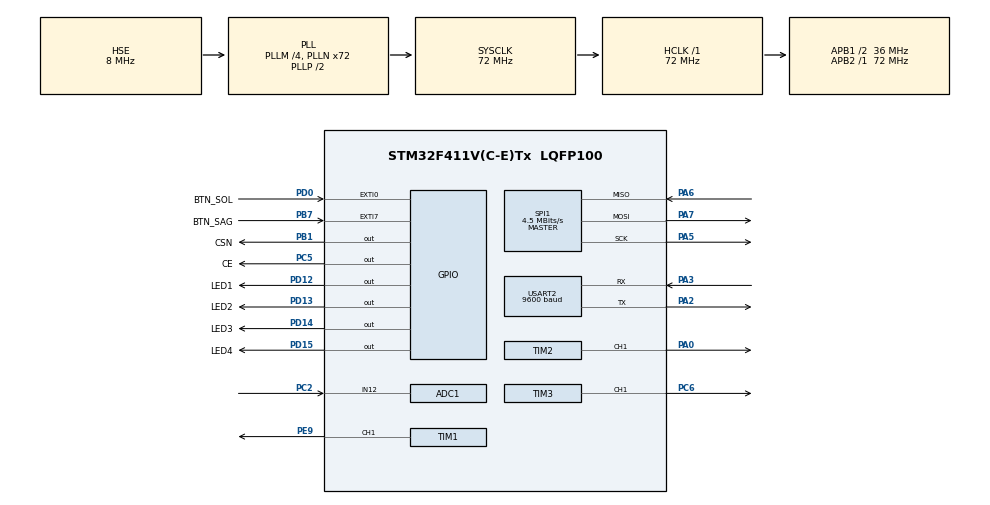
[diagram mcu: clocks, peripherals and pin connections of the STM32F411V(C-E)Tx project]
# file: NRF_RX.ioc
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ADC1.Channel-0\#ChannelRegularConversion=ADC_CHANNEL_12
ADC1.ContinuousConvMode=ENABLE
ADC1.EOCSelection=ADC_EOC_SEQ_CONV
ADC1.NbrOfConversionFlag=1
ADC1.Rank-0\#ChannelRegularConversion=1
ADC1.Resolution=ADC_RESOLUTION_10B
ADC1.SamplingTime-0\#ChannelRegularConversion=ADC_SAMPLETIME_480CYCLES
ADC1.master=1
Mcu.Family=STM32F4
Mcu.Name=STM32F411V(C-E)Tx
Mcu.Package=LQFP100
NVIC.EXTI0_IRQn=true\:0\:0\:false\:false\:true\:true\:true\:true
NVIC.EXTI9_5_IRQn=true\:0\:0\:false\:false\:true\:true\:true\:true
NVIC.PriorityGroup=NVIC_PRIORITYGROUP_0
NVIC.SPI1_IRQn=true\:0\:0\:false\:false\:true\:true\:true\:true
PA0-WKUP.Signal=S_TIM2_CH1_ETR
PA13.Mode=Serial_Wire
PA13.Signal=SYS_JTMS-SWDIO
PA14.Mode=Serial_Wire
PA14.Signal=SYS_JTCK-SWCLK
PA2.Mode=Asynchronous
PA2.Signal=USART2_TX
PA3.Mode=Asynchronous
PA3.Signal=USART2_RX
PA5.Mode=Full_Duplex_Master
PA5.Signal=SPI1_SCK
PA6.Mode=Full_Duplex_Master
PA6.Signal=SPI1_MISO
PA7.Mode=Full_Duplex_Master
PA7.Signal=SPI1_MOSI
PB1.GPIO_Label=CSN
PB1.Signal=GPIO_Output
PB7.GPIO_Label=BTN_SAG
PB7.Signal=GPXTI7
PC2.Signal=ADCx_IN12
PC5.GPIO_Label=CE
PC5.Signal=GPIO_Output
PC6.Signal=S_TIM3_CH1
PD0.GPIO_Label=BTN_SOL
PD0.Signal=GPXTI0
PD12.GPIO_Label=LED1
PD12.Signal=GPIO_Output
PD13.GPIO_Label=LED2
PD13.Signal=GPIO_Output
PD14.GPIO_Label=LED3
PD14.Signal=GPIO_Output
PD15.GPIO_Label=LED4
PD15.Signal=GPIO_Output
PE9.Signal=S_TIM1_CH1
PH0\ -\ OSC_IN.Mode=HSE-External-Oscillator
PH0\ -\ OSC_IN.Signal=RCC_OSC_IN
PH1\ -\ OSC_OUT.Mode=HSE-External-Oscillator
PH1\ -\ OSC_OUT.Signal=RCC_OSC_OUT
ProjectManager.HeapSize=0x200
ProjectManager.StackSize=0x400
ProjectManager.TargetToolchain=STM32CubeIDE
RCC.48MHZClocksFreq_Value=18000000
RCC.AHBFreq_Value=72000000
RCC.APB1CLKDivider=RCC_HCLK_DIV2
RCC.APB1Freq_Value=36000000
RCC.APB1TimFreq_Value=72000000
RCC.APB2Freq_Value=72000000
RCC.APB2TimFreq_Value=72000000
RCC.CortexFreq_Value=72000000
RCC.HCLKFreq_Value=72000000
RCC.HSE_VALUE=8000000
RCC.HSI_VALUE=16000000
RCC.LSE_VALUE=32768
RCC.PLLI2SM=5
RCC.PLLI2SN=200
RCC.PLLM=4
RCC.PLLN=72
RCC.PLLQ=8
RCC.PLLSourceVirtual=RCC_PLLSOURCE_HSE
RCC.SYSCLKFreq_VALUE=72000000
RCC.SYSCLKSource=RCC_SYSCLKSOURCE_PLLCLK
RCC.VCOOutputFreq_Value=144000000
SH.ADCx_IN12.0=ADC1_IN12,IN12
SH.S_TIM1_CH1.0=TIM1_CH1,PWM Generation1 CH1
SH.S_TIM2_CH1_ETR.0=TIM2_CH1,PWM Generation1 CH1
SH.S_TIM3_CH1.0=TIM3_CH1,PWM Generation1 CH1
SPI1.BaudRatePrescaler=SPI_BAUDRATEPRESCALER_16
SPI1.CalculateBaudRate=4.5 MBits/s
SPI1.Direction=SPI_DIRECTION_2LINES
SPI1.Mode=SPI_MODE_MASTER
SPI1.VirtualType=VM_MASTER
TIM1.Channel-PWM\ Generation1\ CH1=TIM_CHANNEL_1
TIM1.Period=9999
TIM1.Prescaler=143
TIM2.Channel-PWM\ Generation1\ CH1=TIM_CHANNEL_1
TIM2.Period=9999
TIM2.Prescaler=143
TIM3.Channel-PWM\ Generation1\ CH1=TIM_CHANNEL_1
TIM3.Period=9999
TIM3.Prescaler=143
USART2.BaudRate=9600
USART2.VirtualMode=VM_ASYNC
VP_TIM1_VS_ClockSourceINT.Mode=Internal
VP_TIM2_VS_ClockSourceINT.Mode=Internal
VP_TIM3_VS_ClockSourceINT.Mode=Internal
board=STM32F411E-DISCO

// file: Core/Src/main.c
/* USER CODE BEGIN Header */
/**
  ******************************************************************************
  * @file           : main.c
  * @brief          : Main program body
  ******************************************************************************
  * @attention
  *
  * Copyright (c) 2023 STMicroelectronics.
  * All rights reserved.
  *
  * This software is licensed under terms that can be found in the LICENSE file
  * in the root directory of this software component.
  * If no LICENSE file comes with this software, it is provided AS-IS.
  *
  ******************************************************************************
  */
/* USER CODE END Header */
#include "main.h"

/* USER CODE BEGIN Includes */

#include "NRF24L01.h"
#include "string.h"
#include <stdio.h>
#include "stdlib.h"
#include <stdint.h>

/* USER CODE END Includes */

/* USER CODE BEGIN PTD */

typedef enum
{
	NFR_MOD,
	BOARD_MOD
}MOD_State_TypeDef;

MOD_State_TypeDef MOD_State_SWC;

/* USER CODE END PTD */

ADC_HandleTypeDef hadc1;

SPI_HandleTypeDef hspi1;

TIM_HandleTypeDef htim1;
TIM_HandleTypeDef htim2;
TIM_HandleTypeDef htim3;

UART_HandleTypeDef huart2;

/* USER CODE BEGIN PV */

uint8_t RxAddress[] = {0x00,0xDD,0xCC,0xBB,0xAA};
uint8_t RxData[20] = {0,0,0,0,0,0,0,0,0,0,0,0,0,0,0,0,0,0,0,0};
uint8_t data[50];

const char ayirici[] = ",";

uint8_t sonuc;
int rcv_data;
int scl_data;

unsigned short PC2_Read, PC2_Scl;

/* USER CODE END PV */

void SystemClock_Config(void);
static void MX_GPIO_Init(void);
static void MX_SPI1_Init(void);
static void MX_USART2_UART_Init(void);
static void MX_TIM1_Init(void);
static void MX_ADC1_Init(void);
static void MX_TIM2_Init(void);
static void MX_TIM3_Init(void);

/* USER CODE BEGIN 0 */

/*
 * 	SWITCH CASE DONGUSUNDE MOD SECIMI. NRF MODDA RF VERICIDEN GELEN
 * 	VERILERE GORE SERVOLAR SURULUR. BOARD MODDA ISE ALICI OLAN DEVREDEKI
 * 	POTANSIYOMETRE KULLANILARAK SERVOLAR SURULEBILIR.
 */
void HAL_GPIO_EXTI_Callback(uint16_t GPIO_Pin)
{
	if(GPIO_Pin == BTN_SOL_Pin)
	{
		MOD_State_SWC = NFR_MOD;
		HAL_GPIO_WritePin(LED2_GPIO_Port, LED2_Pin, GPIO_PIN_RESET);
		HAL_GPIO_WritePin(LED1_GPIO_Port, LED1_Pin, GPIO_PIN_SET);
	}
	if(GPIO_Pin == BTN_SAG_Pin)
	{
		MOD_State_SWC = BOARD_MOD;
		HAL_GPIO_WritePin(LED1_GPIO_Port, LED1_Pin, GPIO_PIN_RESET);
		HAL_GPIO_WritePin(LED2_GPIO_Port, LED2_Pin, GPIO_PIN_SET);
	}
}

/*
 *  RF ILE GELEN VERILERI SERVO SURME DEGERLERINE DONUSTURMEK
 *  ICIN KULLANILAN DEGISKENLER
 *
 */

char* ptr;

uint16_t receivedNumber = 0;
uint16_t receivedNumber2 = 0;
uint16_t receivedNumber3 = 0;

uint16_t final = 0, servo_drive = 0;
uint16_t final2 = 0, servo_drive2 = 0;
uint16_t final3 = 0, servo_drive3 = 0;

uint16_t servo_drive2Rev = 500;
uint16_t servo_drive3Rev = 500;

char *endptr;

/*
 * BU FONKSIYON RxData'DAN GELEN VERILERI HER VIRGUL (",")
 * GELEN KISMINDAN AYIRIR. SONRASINDA TIM_PWM DEGERLERINI ELDE ETMEK
 * ICIN 250-1250 ARASINA OLCEKLER. JOYSTICK'DEN GELEN receivedNumber2 VE
 * receivedNumber3 DEGERLERINI DE DUZENLEYIP NIHAI DURUMDA KULLANILACAK OLAN
 * servo_drive2Rev VE servo_drive3Rev DEGERLERINE DONUSTURUR.
 */
void verileri_isle()
{
	//receivedNumber = atoi(RxData);

	//receivedNumber = strtol((char*)RxData, &endptr, 10);

	ptr = strtok(RxData, ayirici);
	receivedNumber = strtol(ptr, NULL, 10);
	final = receivedNumber;
	receivedNumber = 0;
	servo_drive = ((final - 0) * (1250 - 250)) / (4096 - 0) + 250;

	ptr = strtok(NULL, ayirici);
	receivedNumber2 = strtol(ptr, NULL, 10);
	final2 = receivedNumber2;
	receivedNumber2 = 0;
	servo_drive2 = ((final2 - 0) * (1250 - 250)) / (4096 - 0) + 250;

	ptr = strtok(NULL, ayirici);
	receivedNumber3 = strtol(ptr, NULL, 10);
	final3 = receivedNumber3;
	receivedNumber3 = 0;
	servo_drive3 = ((final3 - 0) * (1250 - 250)) / (4096 - 0) + 250;

	// *** SERVO 2 ICIN JOYSTICK VERILERINI DUZENLEME ***
	if(servo_drive2 < 500)
	{
		servo_drive2Rev = servo_drive2Rev - 3;
		if(servo_drive2Rev <= 250)
		{
			servo_drive2Rev = 250;
		}
	}
	if(servo_drive2 > 900)
	{
		servo_drive2Rev = servo_drive2Rev + 3;
		if(servo_drive2Rev >= 1250)
		{
			servo_drive2Rev = 1250;
		}
	}

	// *** SERVO 3 ICIN JOYSTICK VERILERINI DUZENLEME ***
	if(servo_drive3 < 500)
	{
		servo_drive3Rev = servo_drive3Rev - 3;
		if(servo_drive3Rev <= 250)
		{
			servo_drive3Rev = 250;
		}

	}
	if(servo_drive3 > 900)
	{
		servo_drive3Rev = servo_drive3Rev + 3;
		if(servo_drive3Rev >= 1250)
		{
			servo_drive3Rev = 1250;
		}

	}

}

/*
void HAL_SPI_RxCpltCallback(SPI_HandleTypeDef *hspi)
{
	if(hspi == &hspi1)
	{
		NRF24_Receive(RxData);
		ledw = RxData[0];
		HAL_SPI_Receive_IT(&hspi1, RxData, 10);
	}

}
*/

/* USER CODE END 0 */

int main(void)
{

  /* MCU Configuration--------------------------------------------------------*/

  /* Reset of all peripherals, Initializes the Flash interface and the Systick. */
  HAL_Init();

  /* Configure the system clock */
  SystemClock_Config();

  /* Initialize all configured peripherals */
  MX_GPIO_Init();
  MX_SPI1_Init();
  MX_USART2_UART_Init();
  MX_TIM1_Init();
  MX_ADC1_Init();
  MX_TIM2_Init();
  MX_TIM3_Init();
  /* USER CODE BEGIN 2 */

  HAL_ADC_Start(&hadc1);
  HAL_TIM_PWM_Start(&htim1, TIM_CHANNEL_1);
  HAL_TIM_PWM_Start(&htim2, TIM_CHANNEL_1);
  HAL_TIM_PWM_Start(&htim3, TIM_CHANNEL_1);

  //HAL_SPI_Receive_IT(&hspi1, RxData, 10);

  NRF24_Init();
  NRF24_RxMode(RxAddress, 10);
  NRF24_ReadAll(data);

  /* USER CODE END 2 */

  /* Infinite loop */
  while (1)
  {

    /* USER CODE BEGIN 3 */

	  switch (MOD_State_SWC) {
		case NFR_MOD:
			if (isDataAvailable(2) == 1)
			  {
				  NRF24_Receive(RxData);
				  HAL_GPIO_TogglePin(GPIOD, LED3_Pin | LED4_Pin);
				  verileri_isle();
				  //rcv_data = RxData[0];
				  //scl_data = (rcv_data + 250) +(rcv_data *2);

				  if(servo_drive >= 250 && servo_drive <= 1250)
				  {
					__HAL_TIM_SET_COMPARE(&htim1, TIM_CHANNEL_1, servo_drive);
					HAL_Delay(1);
				  }
					  //HAL_UART_Transmit(&huart2, RxData, strlen((char *)RxData), 1000);

				  if(servo_drive2Rev >= 250 && servo_drive2Rev <= 1250)
				  {
					__HAL_TIM_SET_COMPARE(&htim2, TIM_CHANNEL_1, servo_drive2Rev);
					HAL_Delay(1);
				  }
				  if(servo_drive3Rev >= 250 && servo_drive3Rev <= 1250)
				  {
					__HAL_TIM_SET_COMPARE(&htim3, TIM_CHANNEL_1, servo_drive3Rev);
					HAL_Delay(1);
				  }
			  }
			else
				{
					HAL_GPIO_WritePin(GPIOD, LED3_Pin | LED4_Pin, GPIO_PIN_RESET);
				}
			break;

		case BOARD_MOD:
			HAL_GPIO_WritePin(GPIOD, LED3_Pin | LED4_Pin, GPIO_PIN_RESET);
			if(HAL_ADC_PollForConversion(&hadc1, 100) == HAL_OK)
			  {
				  PC2_Read = HAL_ADC_GetValue(&hadc1);
				  PC2_Scl = PC2_Read + 250;

				  if(PC2_Scl >= 1250)
				  {
					  PC2_Scl = 1250;
				  }
				  __HAL_TIM_SET_COMPARE(&htim1, TIM_CHANNEL_1, PC2_Scl);
				  HAL_Delay(1);
			  }
			break;

		default:
			break;

	}

  }
  /* USER CODE END 3 */
}

void SystemClock_Config(void)
{
  RCC_OscInitTypeDef RCC_OscInitStruct = {0};
  RCC_ClkInitTypeDef RCC_ClkInitStruct = {0};

  /** Configure the main internal regulator output voltage
  */
  __HAL_RCC_PWR_CLK_ENABLE();
  __HAL_PWR_VOLTAGESCALING_CONFIG(PWR_REGULATOR_VOLTAGE_SCALE1);

  /** Initializes the RCC Oscillators according to the specified parameters
  * in the RCC_OscInitTypeDef structure.
  */
  RCC_OscInitStruct.OscillatorType = RCC_OSCILLATORTYPE_HSE;
  RCC_OscInitStruct.HSEState = RCC_HSE_ON;
  RCC_OscInitStruct.PLL.PLLState = RCC_PLL_ON;
  RCC_OscInitStruct.PLL.PLLSource = RCC_PLLSOURCE_HSE;
  RCC_OscInitStruct.PLL.PLLM = 4;
  RCC_OscInitStruct.PLL.PLLN = 72;
  RCC_OscInitStruct.PLL.PLLP = RCC_PLLP_DIV2;
  RCC_OscInitStruct.PLL.PLLQ = 8;
  if (HAL_RCC_OscConfig(&RCC_OscInitStruct) != HAL_OK)
  {
    Error_Handler();
  }

  /** Initializes the CPU, AHB and APB buses clocks
  */
  RCC_ClkInitStruct.ClockType = RCC_CLOCKTYPE_HCLK|RCC_CLOCKTYPE_SYSCLK
                              |RCC_CLOCKTYPE_PCLK1|RCC_CLOCKTYPE_PCLK2;
  RCC_ClkInitStruct.SYSCLKSource = RCC_SYSCLKSOURCE_PLLCLK;
  RCC_ClkInitStruct.AHBCLKDivider = RCC_SYSCLK_DIV1;
  RCC_ClkInitStruct.APB1CLKDivider = RCC_HCLK_DIV2;
  RCC_ClkInitStruct.APB2CLKDivider = RCC_HCLK_DIV1;

  if (HAL_RCC_ClockConfig(&RCC_ClkInitStruct, FLASH_LATENCY_2) != HAL_OK)
  {
    Error_Handler();
  }
}

static void MX_ADC1_Init(void)
{

  ADC_ChannelConfTypeDef sConfig = {0};

  /** Configure the global features of the ADC (Clock, Resolution, Data Alignment and number of conversion)
  */
  hadc1.Instance = ADC1;
  hadc1.Init.ClockPrescaler = ADC_CLOCK_SYNC_PCLK_DIV2;
  hadc1.Init.Resolution = ADC_RESOLUTION_10B;
  hadc1.Init.ScanConvMode = DISABLE;
  hadc1.Init.ContinuousConvMode = ENABLE;
  hadc1.Init.DiscontinuousConvMode = DISABLE;
  hadc1.Init.ExternalTrigConvEdge = ADC_EXTERNALTRIGCONVEDGE_NONE;
  hadc1.Init.ExternalTrigConv = ADC_SOFTWARE_START;
  hadc1.Init.DataAlign = ADC_DATAALIGN_RIGHT;
  hadc1.Init.NbrOfConversion = 1;
  hadc1.Init.DMAContinuousRequests = DISABLE;
  hadc1.Init.EOCSelection = ADC_EOC_SEQ_CONV;
  if (HAL_ADC_Init(&hadc1) != HAL_OK)
  {
    Error_Handler();
  }

  /** Configure for the selected ADC regular channel its corresponding rank in the sequencer and its sample time.
  */
  sConfig.Channel = ADC_CHANNEL_12;
  sConfig.Rank = 1;
  sConfig.SamplingTime = ADC_SAMPLETIME_480CYCLES;
  if (HAL_ADC_ConfigChannel(&hadc1, &sConfig) != HAL_OK)
  {
    Error_Handler();
  }

}

static void MX_SPI1_Init(void)
{

  /* SPI1 parameter configuration*/
  hspi1.Instance = SPI1;
  hspi1.Init.Mode = SPI_MODE_MASTER;
  hspi1.Init.Direction = SPI_DIRECTION_2LINES;
  hspi1.Init.DataSize = SPI_DATASIZE_8BIT;
  hspi1.Init.CLKPolarity = SPI_POLARITY_LOW;
  hspi1.Init.CLKPhase = SPI_PHASE_1EDGE;
  hspi1.Init.NSS = SPI_NSS_SOFT;
  hspi1.Init.BaudRatePrescaler = SPI_BAUDRATEPRESCALER_16;
  hspi1.Init.FirstBit = SPI_FIRSTBIT_MSB;
  hspi1.Init.TIMode = SPI_TIMODE_DISABLE;
  hspi1.Init.CRCCalculation = SPI_CRCCALCULATION_DISABLE;
  hspi1.Init.CRCPolynomial = 10;
  if (HAL_SPI_Init(&hspi1) != HAL_OK)
  {
    Error_Handler();
  }

}

static void MX_TIM1_Init(void)
{

  TIM_ClockConfigTypeDef sClockSourceConfig = {0};
  TIM_MasterConfigTypeDef sMasterConfig = {0};
  TIM_OC_InitTypeDef sConfigOC = {0};
  TIM_BreakDeadTimeConfigTypeDef sBreakDeadTimeConfig = {0};

  htim1.Instance = TIM1;
  htim1.Init.Prescaler = 143;
  htim1.Init.CounterMode = TIM_COUNTERMODE_UP;
  htim1.Init.Period = 9999;
  htim1.Init.ClockDivision = TIM_CLOCKDIVISION_DIV1;
  htim1.Init.RepetitionCounter = 0;
  htim1.Init.AutoReloadPreload = TIM_AUTORELOAD_PRELOAD_DISABLE;
  if (HAL_TIM_Base_Init(&htim1) != HAL_OK)
  {
    Error_Handler();
  }
  sClockSourceConfig.ClockSource = TIM_CLOCKSOURCE_INTERNAL;
  if (HAL_TIM_ConfigClockSource(&htim1, &sClockSourceConfig) != HAL_OK)
  {
    Error_Handler();
  }
  if (HAL_TIM_PWM_Init(&htim1) != HAL_OK)
  {
    Error_Handler();
  }
  sMasterConfig.MasterOutputTrigger = TIM_TRGO_RESET;
  sMasterConfig.MasterSlaveMode = TIM_MASTERSLAVEMODE_DISABLE;
  if (HAL_TIMEx_MasterConfigSynchronization(&htim1, &sMasterConfig) != HAL_OK)
  {
    Error_Handler();
  }
  sConfigOC.OCMode = TIM_OCMODE_PWM1;
  sConfigOC.Pulse = 0;
  sConfigOC.OCPolarity = TIM_OCPOLARITY_HIGH;
  sConfigOC.OCNPolarity = TIM_OCNPOLARITY_HIGH;
  sConfigOC.OCFastMode = TIM_OCFAST_DISABLE;
  sConfigOC.OCIdleState = TIM_OCIDLESTATE_RESET;
  sConfigOC.OCNIdleState = TIM_OCNIDLESTATE_RESET;
  if (HAL_TIM_PWM_ConfigChannel(&htim1, &sConfigOC, TIM_CHANNEL_1) != HAL_OK)
  {
    Error_Handler();
  }
  sBreakDeadTimeConfig.OffStateRunMode = TIM_OSSR_DISABLE;
  sBreakDeadTimeConfig.OffStateIDLEMode = TIM_OSSI_DISABLE;
  sBreakDeadTimeConfig.LockLevel = TIM_LOCKLEVEL_OFF;
  sBreakDeadTimeConfig.DeadTime = 0;
  sBreakDeadTimeConfig.BreakState = TIM_BREAK_DISABLE;
  sBreakDeadTimeConfig.BreakPolarity = TIM_BREAKPOLARITY_HIGH;
  sBreakDeadTimeConfig.AutomaticOutput = TIM_AUTOMATICOUTPUT_DISABLE;
  if (HAL_TIMEx_ConfigBreakDeadTime(&htim1, &sBreakDeadTimeConfig) != HAL_OK)
  {
    Error_Handler();
  }
  HAL_TIM_MspPostInit(&htim1);

}

static void MX_TIM2_Init(void)
{

  TIM_ClockConfigTypeDef sClockSourceConfig = {0};
  TIM_MasterConfigTypeDef sMasterConfig = {0};
  TIM_OC_InitTypeDef sConfigOC = {0};

  htim2.Instance = TIM2;
  htim2.Init.Prescaler = 143;
  htim2.Init.CounterMode = TIM_COUNTERMODE_UP;
  htim2.Init.Period = 9999;
  htim2.Init.ClockDivision = TIM_CLOCKDIVISION_DIV1;
  htim2.Init.AutoReloadPreload = TIM_AUTORELOAD_PRELOAD_DISABLE;
  if (HAL_TIM_Base_Init(&htim2) != HAL_OK)
  {
    Error_Handler();
  }
  sClockSourceConfig.ClockSource = TIM_CLOCKSOURCE_INTERNAL;
  if (HAL_TIM_ConfigClockSource(&htim2, &sClockSourceConfig) != HAL_OK)
  {
    Error_Handler();
  }
  if (HAL_TIM_PWM_Init(&htim2) != HAL_OK)
  {
    Error_Handler();
  }
  sMasterConfig.MasterOutputTrigger = TIM_TRGO_RESET;
  sMasterConfig.MasterSlaveMode = TIM_MASTERSLAVEMODE_DISABLE;
  if (HAL_TIMEx_MasterConfigSynchronization(&htim2, &sMasterConfig) != HAL_OK)
  {
    Error_Handler();
  }
  sConfigOC.OCMode = TIM_OCMODE_PWM1;
  sConfigOC.Pulse = 0;
  sConfigOC.OCPolarity = TIM_OCPOLARITY_HIGH;
  sConfigOC.OCFastMode = TIM_OCFAST_DISABLE;
  if (HAL_TIM_PWM_ConfigChannel(&htim2, &sConfigOC, TIM_CHANNEL_1) != HAL_OK)
  {
    Error_Handler();
  }
  HAL_TIM_MspPostInit(&htim2);

}

static void MX_TIM3_Init(void)
{

  TIM_ClockConfigTypeDef sClockSourceConfig = {0};
  TIM_MasterConfigTypeDef sMasterConfig = {0};
  TIM_OC_InitTypeDef sConfigOC = {0};

  htim3.Instance = TIM3;
  htim3.Init.Prescaler = 143;
  htim3.Init.CounterMode = TIM_COUNTERMODE_UP;
  htim3.Init.Period = 9999;
  htim3.Init.ClockDivision = TIM_CLOCKDIVISION_DIV1;
  htim3.Init.AutoReloadPreload = TIM_AUTORELOAD_PRELOAD_DISABLE;
  if (HAL_TIM_Base_Init(&htim3) != HAL_OK)
  {
    Error_Handler();
  }
  sClockSourceConfig.ClockSource = TIM_CLOCKSOURCE_INTERNAL;
  if (HAL_TIM_ConfigClockSource(&htim3, &sClockSourceConfig) != HAL_OK)
  {
    Error_Handler();
  }
  if (HAL_TIM_PWM_Init(&htim3) != HAL_OK)
  {
    Error_Handler();
  }
  sMasterConfig.MasterOutputTrigger = TIM_TRGO_RESET;
  sMasterConfig.MasterSlaveMode = TIM_MASTERSLAVEMODE_DISABLE;
  if (HAL_TIMEx_MasterConfigSynchronization(&htim3, &sMasterConfig) != HAL_OK)
  {
    Error_Handler();
  }
  sConfigOC.OCMode = TIM_OCMODE_PWM1;
  sConfigOC.Pulse = 0;
  sConfigOC.OCPolarity = TIM_OCPOLARITY_HIGH;
  sConfigOC.OCFastMode = TIM_OCFAST_DISABLE;
  if (HAL_TIM_PWM_ConfigChannel(&htim3, &sConfigOC, TIM_CHANNEL_1) != HAL_OK)
  {
    Error_Handler();
  }
  HAL_TIM_MspPostInit(&htim3);

}

static void MX_USART2_UART_Init(void)
{

  huart2.Instance = USART2;
  huart2.Init.BaudRate = 9600;
  huart2.Init.WordLength = UART_WORDLENGTH_8B;
  huart2.Init.StopBits = UART_STOPBITS_1;
  huart2.Init.Parity = UART_PARITY_NONE;
  huart2.Init.Mode = UART_MODE_TX_RX;
  huart2.Init.HwFlowCtl = UART_HWCONTROL_NONE;
  huart2.Init.OverSampling = UART_OVERSAMPLING_16;
  if (HAL_UART_Init(&huart2) != HAL_OK)
  {
    Error_Handler();
  }

}

static void MX_GPIO_Init(void)
{
  GPIO_InitTypeDef GPIO_InitStruct = {0};

  /* GPIO Ports Clock Enable */
  __HAL_RCC_GPIOH_CLK_ENABLE();
  __HAL_RCC_GPIOC_CLK_ENABLE();
  __HAL_RCC_GPIOA_CLK_ENABLE();
  __HAL_RCC_GPIOB_CLK_ENABLE();
  __HAL_RCC_GPIOE_CLK_ENABLE();
  __HAL_RCC_GPIOD_CLK_ENABLE();

  /*Configure GPIO pin Output Level */
  HAL_GPIO_WritePin(CE_GPIO_Port, CE_Pin, GPIO_PIN_RESET);

  /*Configure GPIO pin Output Level */
  HAL_GPIO_WritePin(CSN_GPIO_Port, CSN_Pin, GPIO_PIN_RESET);

  /*Configure GPIO pin Output Level */
  HAL_GPIO_WritePin(GPIOD, LED1_Pin|LED2_Pin|LED3_Pin|LED4_Pin, GPIO_PIN_RESET);

  /*Configure GPIO pin : CE_Pin */
  GPIO_InitStruct.Pin = CE_Pin;
  GPIO_InitStruct.Mode = GPIO_MODE_OUTPUT_PP;
  GPIO_InitStruct.Pull = GPIO_NOPULL;
  GPIO_InitStruct.Speed = GPIO_SPEED_FREQ_LOW;
  HAL_GPIO_Init(CE_GPIO_Port, &GPIO_InitStruct);

  /*Configure GPIO pin : CSN_Pin */
  GPIO_InitStruct.Pin = CSN_Pin;
  GPIO_InitStruct.Mode = GPIO_MODE_OUTPUT_PP;
  GPIO_InitStruct.Pull = GPIO_NOPULL;
  GPIO_InitStruct.Speed = GPIO_SPEED_FREQ_LOW;
  HAL_GPIO_Init(CSN_GPIO_Port, &GPIO_InitStruct);

  /*Configure GPIO pins : LED1_Pin LED2_Pin LED3_Pin LED4_Pin */
  GPIO_InitStruct.Pin = LED1_Pin|LED2_Pin|LED3_Pin|LED4_Pin;
  GPIO_InitStruct.Mode = GPIO_MODE_OUTPUT_PP;
  GPIO_InitStruct.Pull = GPIO_NOPULL;
  GPIO_InitStruct.Speed = GPIO_SPEED_FREQ_LOW;
  HAL_GPIO_Init(GPIOD, &GPIO_InitStruct);

  /*Configure GPIO pin : BTN_SOL_Pin */
  GPIO_InitStruct.Pin = BTN_SOL_Pin;
  GPIO_InitStruct.Mode = GPIO_MODE_IT_RISING;
  GPIO_InitStruct.Pull = GPIO_NOPULL;
  HAL_GPIO_Init(BTN_SOL_GPIO_Port, &GPIO_InitStruct);

  /*Configure GPIO pin : BTN_SAG_Pin */
  GPIO_InitStruct.Pin = BTN_SAG_Pin;
  GPIO_InitStruct.Mode = GPIO_MODE_IT_RISING;
  GPIO_InitStruct.Pull = GPIO_NOPULL;
  HAL_GPIO_Init(BTN_SAG_GPIO_Port, &GPIO_InitStruct);

  /* EXTI interrupt init*/
  HAL_NVIC_SetPriority(EXTI0_IRQn, 0, 0);
  HAL_NVIC_EnableIRQ(EXTI0_IRQn);

  HAL_NVIC_SetPriority(EXTI9_5_IRQn, 0, 0);
  HAL_NVIC_EnableIRQ(EXTI9_5_IRQn);

}

void Error_Handler(void)
{
  __disable_irq();
  while (1)
  {
  }
}
